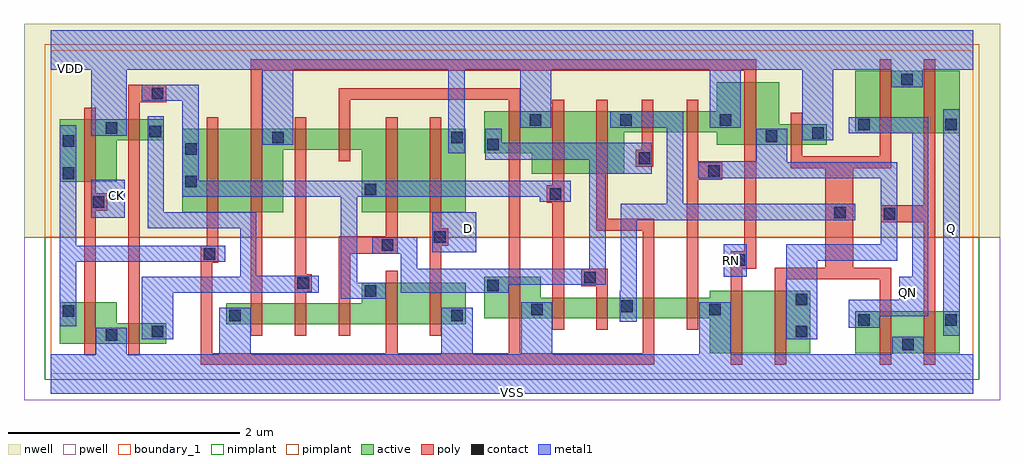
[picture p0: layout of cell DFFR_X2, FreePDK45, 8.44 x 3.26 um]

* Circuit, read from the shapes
.subckt DFFR_X2 CK D Q QN RN VDD VSS
M1 VSS CK n1 VSUBS nfet w=0.36u l=0.1u
M2 n2 n3 VSS VSUBS nfet w=0.18u l=0.1u
M3 n4 RN VSS VSUBS nfet w=0.18u l=0.1u
M4 n5 n2 n4 VSUBS nfet w=0.18u l=0.1u
M5 n3 n6 n5 VSUBS nfet w=0.18u l=0.1u
M6 n7 n1 n3 VSUBS nfet w=0.36u l=0.1u
M7 VSS D n7 VSUBS nfet w=0.36u l=0.1u
M8 VSS n1 n6 VSUBS nfet w=0.36u l=0.1u
M9 n8 n3 VSS VSUBS nfet w=0.18u l=0.1u
M10 n9 n6 n8 VSUBS nfet w=0.18u l=0.1u
M11 n10 n1 n9 VSUBS nfet w=0.18u l=0.1u
M12 VSS n11 n10 VSUBS nfet w=0.18u l=0.1u
M13 n12 RN VSS VSUBS nfet w=0.54u l=0.1u
M14 n11 n9 n12 VSUBS nfet w=0.54u l=0.1u
M15 VSS n9 QN VSUBS nfet w=0.36u l=0.1u
M16 Q n11 VSS VSUBS nfet w=0.36u l=0.1u
M17 VDD CK n1 n13 pfet w=0.54u l=0.1u
M18 n2 n3 VDD n13 pfet w=0.18u l=0.1u
M19 n14 n1 n3 n13 pfet w=0.72u l=0.1u
M20 VDD RN n14 n13 pfet w=0.72u l=0.1u
M21 n15 n2 VDD n13 pfet w=0.18u l=0.1u
M22 n3 n1 n15 n13 pfet w=0.18u l=0.1u
M23 n16 n6 n3 n13 pfet w=0.72u l=0.1u
M24 VDD D n16 n13 pfet w=0.72u l=0.1u
M25 VDD n1 n6 n13 pfet w=0.36u l=0.1u
M26 n17 n3 VDD n13 pfet w=0.54u l=0.1u
M27 n9 n1 n17 n13 pfet w=0.54u l=0.1u
M28 n18 n6 n9 n13 pfet w=0.18u l=0.1u
M29 VDD n11 n18 n13 pfet w=0.18u l=0.1u
M30 n11 RN VDD n13 pfet w=0.54u l=0.1u
M31 VDD n9 n11 n13 pfet w=0.18u l=0.1u
M32 VDD n9 QN n13 pfet w=0.54u l=0.1u
M33 Q n11 VDD n13 pfet w=0.54u l=0.1u
.ends

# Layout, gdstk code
import gdstk
lib = gdstk.Library(unit=1e-6, precision=1e-09)
def R(c, l, rs):  # rectangles x0, y0, x1, y1
    for r in rs: c.add(gdstk.rectangle(r[:2], r[2:], *l))
def P(c, l, *ps):  # polygons
    for p in ps: c.add(gdstk.Polygon(p, *l))
active = (1, 0)
pwell = (2, 0)
nwell = (3, 0)
nimplant = (4, 0)
pimplant = (5, 0)
poly = (9, 0)
contact = (10, 0)
metal1 = (11, 0)
boundary_1 = (235, 1)

dffr_x2 = lib.new_cell('DFFR_X2')
R(dffr_x2, active, [(6.96,0.18,7.86,0.54), (6.96,2.08,7.86,2.62)])
P(dffr_x2, active, [(3.75,1.91),(4.16,1.91),(4.16,1.73),(4.96,1.73),(4.96,2.09),(5.76,2.09),(5.76,1.98),(6.71,1.98),(6.71,2.16),(6.3,2.16),(6.3,2.52),(5.76,2.52),(5.76,2.27),(3.75,2.27)],
  [(3.75,0.48),(5.7,0.48),(5.7,0.18),(6.57,0.18),(6.57,0.72),(5.7,0.72),(5.7,0.66),(4.24,0.66),(4.24,0.84),(3.75,0.84)],
  [(1.14,1.4),(2.01,1.4),(2.01,1.94),(2.69,1.94),(2.69,1.4),(3.59,1.4),(3.59,2.12),(1.14,2.12)],
  [(1.52,0.43),(3.59,0.43),(3.59,0.79),(2.69,0.79),(2.69,0.61),(1.52,0.61)],
  [(0.08,0.26),(1,0.26),(1,0.44),(0.57,0.44),(0.57,0.62),(0.08,0.62)],
  [(0.08,1.66),(0.57,1.66),(0.57,2.02),(0.98,2.02),(0.98,2.2),(0.08,2.2)])
R(dffr_x2, pwell, [(-0.23,-0.23,8.21,1.18)])
R(dffr_x2, nwell, [(-0.23,1.18,8.21,3.03)])
R(dffr_x2, nimplant, [(-0.05,-0.05,8.03,1.18)])
R(dffr_x2, pimplant, [(-0.05,1.18,8.03,2.85)])
P(dffr_x2, poly, [(7.18,1.31),(7.55,1.31),(7.55,0.08),(7.65,0.08),(7.65,2.72),(7.55,2.72),(7.55,1.46),(7.18,1.46)],
  [(6.94,1.78),(7.27,1.78),(7.27,2.72),(7.17,2.72),(7.17,1.88),(6.5,1.88),(6.5,2.26),(6.4,2.26),(6.4,1.78),(6.7,1.78),(6.7,0.92),(6.26,0.92),(6.26,0.08),(6.36,0.08),(6.36,0.82),(7.17,0.82),(7.17,0.08),(7.27,0.08),(7.27,0.92),(6.94,0.92)],
  [(1.73,0.33),(1.83,0.33),(1.83,2.62),(6,2.62),(6,1.06),(5.88,1.06),(5.88,0.08),(5.98,0.08),(5.98,0.91),(6.1,0.91),(6.1,2.72),(1.73,2.72)],
  [(5.5,0.38),(5.6,0.38),(5.6,1.68),(5.81,1.68),(5.81,1.83),(5.6,1.83),(5.6,2.37),(5.5,2.37)],
  [(4.72,1.24),(5.12,1.24),(5.12,0.18),(4.06,0.18),(4.06,2.47),(2.49,2.47),(2.49,1.84),(2.59,1.84),(2.59,2.37),(3.96,2.37),(3.96,0.18),(3,0.18),(3,0.89),(2.9,0.89),(2.9,0.18),(1.4,0.18),(1.4,0.96),(1.45,0.96),(1.45,2.22),(1.35,2.22),(1.35,1.11),(1.3,1.11),(1.3,0.08),(5.22,0.08),(5.22,1.34),(4.82,1.34),(4.82,2.37),(4.72,2.37)],
  [(5.06,1.79),(5.21,1.79),(5.21,2.37),(5.11,2.37),(5.11,1.94),(5.06,1.94)],
  [(4.59,0.76),(4.72,0.76),(4.72,0.38),(4.82,0.38),(4.82,0.91),(4.59,0.91)],
  [(4.29,1.48),(4.34,1.48),(4.34,0.38),(4.44,0.38),(4.44,2.37),(4.34,2.37),(4.34,1.63),(4.29,1.63)],
  [(3.28,0.33),(3.38,0.33),(3.38,1.11),(3.44,1.11),(3.44,1.26),(3.38,1.26),(3.38,2.22),(3.28,2.22)],
  [(2.49,0.33),(2.59,0.33),(2.59,1.04),(3,1.04),(3,2.22),(2.9,2.22),(2.9,1.19),(2.49,1.19)],
  [(2.11,0.33),(2.21,0.33),(2.21,0.71),(2.26,0.71),(2.26,0.86),(2.21,0.86),(2.21,2.22),(2.11,2.22)],
  [(0.67,0.16),(0.77,0.16),(0.77,2.35),(1,2.35),(1,2.5),(0.67,2.5)],
  [(0.29,0.16),(0.39,0.16),(0.39,1.41),(0.49,1.41),(0.49,1.56),(0.39,1.56),(0.39,2.3),(0.29,2.3)])
R(dffr_x2, contact, [(7.365,0.205,7.465,0.305), (0.475,0.285,0.575,0.385), (0.875,0.315,0.975,0.415), (6.445,0.315,6.545,0.415), (6.985,0.415,7.085,0.515), (7.735,0.415,7.835,0.515), (1.545,0.455,1.645,0.555), (3.465,0.455,3.565,0.555), (0.105,0.495,0.205,0.595), (4.155,0.505,4.255,0.605), (5.695,0.505,5.795,0.605), (4.935,0.535,5.035,0.635), (6.445,0.595,6.545,0.695), (2.715,0.665,2.815,0.765), (3.775,0.715,3.875,0.815), (2.135,0.735,2.235,0.835), (4.615,0.785,4.715,0.885), (5.905,0.935,6.005,1.035), (1.325,0.985,1.425,1.085), (2.865,1.065,2.965,1.165), (3.315,1.135,3.415,1.235), (7.205,1.335,7.305,1.435), (6.775,1.345,6.875,1.445), (0.365,1.435,0.465,1.535), (4.315,1.505,4.415,1.605), (2.715,1.545,2.815,1.645), (1.165,1.615,1.265,1.715), (0.105,1.685,0.205,1.785), (5.685,1.705,5.785,1.805), (5.085,1.815,5.185,1.915), (1.165,1.895,1.265,1.995), (3.775,1.935,3.875,2.035), (0.105,1.965,0.205,2.065), (1.915,1.995,2.015,2.095), (3.465,1.995,3.565,2.095), (6.185,2.005,6.285,2.105), (6.585,2.035,6.685,2.135), (0.855,2.045,0.955,2.145), (0.475,2.075,0.575,2.175), (6.985,2.105,7.085,2.205), (7.735,2.105,7.835,2.205), (4.145,2.145,4.245,2.245), (4.925,2.145,5.025,2.245), (5.785,2.145,5.885,2.245), (0.875,2.375,0.975,2.475), (7.355,2.495,7.455,2.595)])
R(dffr_x2, metal1, [(7.72,0.33,7.86,2.29), (7.72,0.33,7.86,2.29), (5.82,0.84,6.02,1.12), (5.82,0.84,6.02,1.12), (3.3,1.05,3.68,1.4), (3.3,1.05,3.68,1.4), (0.35,1.35,0.64,1.68), (0.35,1.35,0.64,1.68)])
P(dffr_x2, metal1, [(0,-0.17),(7.98,-0.17),(7.98,0.17),(7.55,0.17),(7.55,0.32),(7.28,0.32),(7.28,0.17),(5.88,0.17),(5.88,0.62),(5.61,0.62),(5.61,0.17),(4.34,0.17),(4.34,0.62),(4.07,0.62),(4.07,0.17),(3.65,0.17),(3.65,0.57),(3.38,0.57),(3.38,0.17),(1.73,0.17),(1.73,0.57),(1.46,0.57),(1.46,0.17),(0.66,0.17),(0.66,0.4),(0.39,0.4),(0.39,0.17),(0,0.17)],
  [(0,2.63),(0.35,2.63),(0.35,2.06),(0.66,2.06),(0.66,2.63),(1.83,2.63),(1.83,1.98),(2.1,1.98),(2.1,2.63),(3.44,2.63),(3.44,1.91),(3.58,1.91),(3.58,2.63),(4.06,2.63),(4.06,2.13),(4.33,2.13),(4.33,2.63),(5.7,2.63),(5.7,2.13),(5.97,2.13),(5.97,2.63),(6.5,2.63),(6.5,2.02),(6.77,2.02),(6.77,2.63),(7.27,2.63),(7.27,2.48),(7.54,2.48),(7.54,2.63),(7.98,2.63),(7.98,2.97),(0,2.97)],
  [(6.9,2.08),(7.45,2.08),(7.45,0.84),(7.34,0.84),(7.34,0.64),(6.9,0.64),(6.9,0.4),(7.17,0.4),(7.17,0.5),(7.59,0.5),(7.59,2.22),(6.9,2.22)],
  [(0,2.63),(0.35,2.63),(0.35,2.06),(0.66,2.06),(0.66,2.63),(1.83,2.63),(1.83,1.98),(2.1,1.98),(2.1,2.63),(3.44,2.63),(3.44,1.91),(3.58,1.91),(3.58,2.63),(4.06,2.63),(4.06,2.13),(4.33,2.13),(4.33,2.63),(5.7,2.63),(5.7,2.13),(5.97,2.13),(5.97,2.63),(6.5,2.63),(6.5,2.02),(6.77,2.02),(6.77,2.63),(7.27,2.63),(7.27,2.48),(7.54,2.48),(7.54,2.63),(7.98,2.63),(7.98,2.97),(0,2.97)],
  [(0,-0.17),(7.98,-0.17),(7.98,0.17),(7.55,0.17),(7.55,0.32),(7.28,0.32),(7.28,0.17),(5.88,0.17),(5.88,0.62),(5.61,0.62),(5.61,0.17),(4.34,0.17),(4.34,0.62),(4.07,0.62),(4.07,0.17),(3.65,0.17),(3.65,0.57),(3.38,0.57),(3.38,0.17),(1.73,0.17),(1.73,0.57),(1.46,0.57),(1.46,0.17),(0.66,0.17),(0.66,0.4),(0.39,0.4),(0.39,0.17),(0,0.17)],
  [(6.9,2.08),(7.45,2.08),(7.45,0.84),(7.34,0.84),(7.34,0.64),(6.9,0.64),(6.9,0.4),(7.17,0.4),(7.17,0.5),(7.59,0.5),(7.59,2.22),(6.9,2.22)],
  [(5.6,1.69),(7.18,1.69),(7.18,1.12),(6.36,1.12),(6.36,0.3),(6.63,0.3),(6.63,0.98),(7.32,0.98),(7.32,1.83),(6.37,1.83),(6.37,2.12),(6.1,2.12),(6.1,1.84),(5.6,1.84)],
  [(4.84,2.13),(5.33,2.13),(5.33,1.47),(4.93,1.47),(4.93,0.72),(4.92,0.72),(4.92,0.45),(5.07,0.45),(5.07,1.33),(6.96,1.33),(6.96,1.47),(5.47,1.47),(5.47,2.27),(4.84,2.27)],
  [(3.76,1.85),(4.66,1.85),(4.66,0.91),(3.17,0.91),(3.17,1.18),(2.78,1.18),(2.78,1.04),(3.03,1.04),(3.03,0.7),(3.96,0.7),(3.96,0.77),(4.8,0.77),(4.8,1.73),(5.2,1.73),(5.2,2),(3.9,2),(3.9,2.12),(3.76,2.12)],
  [(2.65,1.53),(4.23,1.53),(4.23,1.49),(4.5,1.49),(4.5,1.67),(1.28,1.67),(1.28,2.5),(0.79,2.5),(0.79,2.36),(1.14,2.36),(1.14,1.53),(2.51,1.53),(2.51,0.65),(2.9,0.65),(2.9,0.79),(2.65,0.79)],
  [(0.84,1.26),(1.64,1.26),(1.64,0.84),(0.79,0.84),(0.79,0.3),(1.06,0.3),(1.06,0.7),(2.32,0.7),(2.32,0.85),(1.78,0.85),(1.78,1.4),(0.98,1.4),(0.98,2.23),(0.84,2.23)],
  [(0.08,0.41),(0.22,0.41),(0.22,0.97),(1.51,0.97),(1.51,1.11),(0.22,1.11),(0.22,2.15),(0.08,2.15)])
R(dffr_x2, boundary_1, [(0,0,7.98,2.8)])
dffr_x2.add(gdstk.Label('VSS', (3.99,-0.16), layer=11, texttype=0))
dffr_x2.add(gdstk.Label('VDD', (0.175,2.64), layer=11, texttype=0))
dffr_x2.add(gdstk.Label('RN', (5.89,0.98), layer=11, texttype=0))
dffr_x2.add(gdstk.Label('QN', (7.41,0.7), layer=11, texttype=0))
dffr_x2.add(gdstk.Label('Q', (7.79,1.26), layer=11, texttype=0))
dffr_x2.add(gdstk.Label('D', (3.61,1.26), layer=11, texttype=0))
dffr_x2.add(gdstk.Label('CK', (0.57,1.54), layer=11, texttype=0))

lib.write_gds('DFFR_X2.gds')
